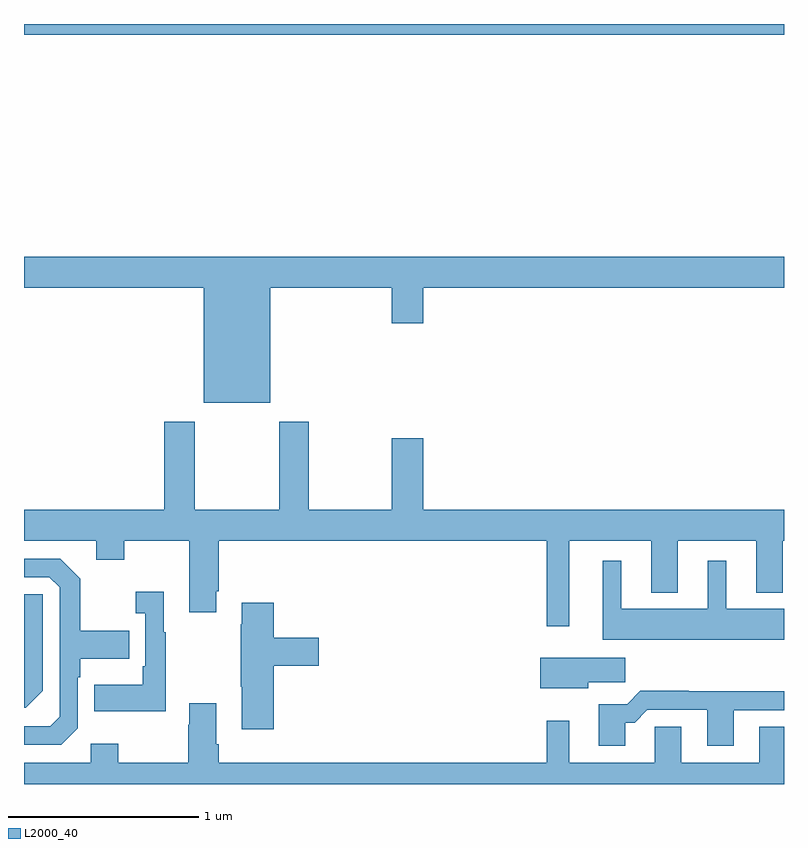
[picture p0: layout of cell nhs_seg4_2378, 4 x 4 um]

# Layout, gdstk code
import gdstk
lib = gdstk.Library(unit=1e-6, precision=1e-09)
def R(c, l, rs):  # rectangles x0, y0, x1, y1
    for r in rs: c.add(gdstk.rectangle(r[:2], r[2:], *l))
def P(c, l, *ps):  # polygons
    for p in ps: c.add(gdstk.Polygon(p, *l))
L2000_40 = (2000, 40)

nhs_seg4_2378 = lib.new_cell('nhs_seg4_2378')
R(nhs_seg4_2378, L2000_40, [(235,772.844,239,772.9)])
P(nhs_seg4_2378, L2000_40, [(236.296,771.512),(236.936,771.512),(236.936,771.324),(237.1,771.324),(237.1,771.512),(239,771.512),(239,771.676),(235,771.676),(235,771.512),(235.946,771.512),(235.946,770.906),(236.296,770.906)],
  [(237.871,770.18),(238.301,770.18),(238.301,769.907),(238.441,769.907),(238.441,770.18),(238.853,770.18),(238.853,769.907),(238.993,769.907),(238.993,770.18),(239,770.18),(239,770.344),(237.1,770.344),(237.1,770.719),(236.936,770.719),(236.936,770.344),(236.499,770.344),(236.499,770.806),(236.344,770.806),(236.344,770.344),(235.899,770.344),(235.899,770.806),(235.739,770.806),(235.739,770.344),(235,770.344),(235,770.18),(235.379,770.18),(235.379,770.081),(235.527,770.081),(235.527,770.18),(235.871,770.18),(235.871,769.803),(236.011,769.803),(236.011,769.915),(236.024,769.915),(236.024,770.18),(237.75,770.18),(237.75,769.731),(237.871,769.731)],
  [(235.284,769.194),(235.284,769.463),(235.297,769.463),(235.297,769.559),(235.553,769.559),(235.553,769.707),(235.297,769.707),(235.297,769.979),(235.191,770.085),(235,770.085),(235,769.989),(235.134,769.989),(235.188,769.935),(235.188,769.254),(235.137,769.203),(235,769.203),(235,769.107),(235.197,769.107)],
  [(239,769.822),(238.696,769.822),(238.696,770.074),(238.598,770.074),(238.598,769.822),(238.144,769.822),(238.144,770.074),(238.046,770.074),(238.046,769.658),(239,769.658)],
  [(235.747,769.699),(235.735,769.699),(235.735,769.912),(235.587,769.912),(235.587,769.799),(235.638,769.799),(235.638,769.519),(235.626,769.519),(235.626,769.423),(235.369,769.423),(235.369,769.283),(235.747,769.283)],
  [(235.098,769.392),(235.098,769.899),(235,769.899),(235,769.706),(235.002,769.706),(235.002,769.452),(235,769.45),(235,769.302),(235.008,769.302)],
  [(236.315,769.523),(236.551,769.523),(236.551,769.67),(236.315,769.67),(236.315,769.855),(236.147,769.855),(236.147,769.742),(236.14,769.742),(236.14,769.411),(236.147,769.411),(236.147,769.188),(236.315,769.188)],
  [(237.97,769.435),(238.165,769.435),(238.165,769.564),(237.716,769.564),(237.716,769.403),(237.97,769.403)],
  [(238.165,769.223),(238.214,769.223),(238.281,769.29),(238.595,769.29),(238.595,769.101),(238.735,769.101),(238.735,769.287),(239,769.287),(239,769.388),(238.499,769.388),(238.499,769.391),(238.244,769.391),(238.174,769.321),(238.025,769.321),(238.025,769.101),(238.165,769.101)],
  [(239,769.202),(238.871,769.202),(238.871,769.012),(238.459,769.012),(238.459,769.202),(238.32,769.202),(238.32,769.012),(237.871,769.012),(237.871,769.234),(237.75,769.234),(237.75,769.012),(236.024,769.012),(236.024,769.108),(236.011,769.108),(236.011,769.324),(235.871,769.324),(235.871,769.211),(235.864,769.211),(235.864,769.012),(235.497,769.012),(235.497,769.111),(235.35,769.111),(235.35,769.012),(235,769.012),(235,768.9),(239,768.9)])

lib.write_gds('nhs_seg4_2378.gds')
